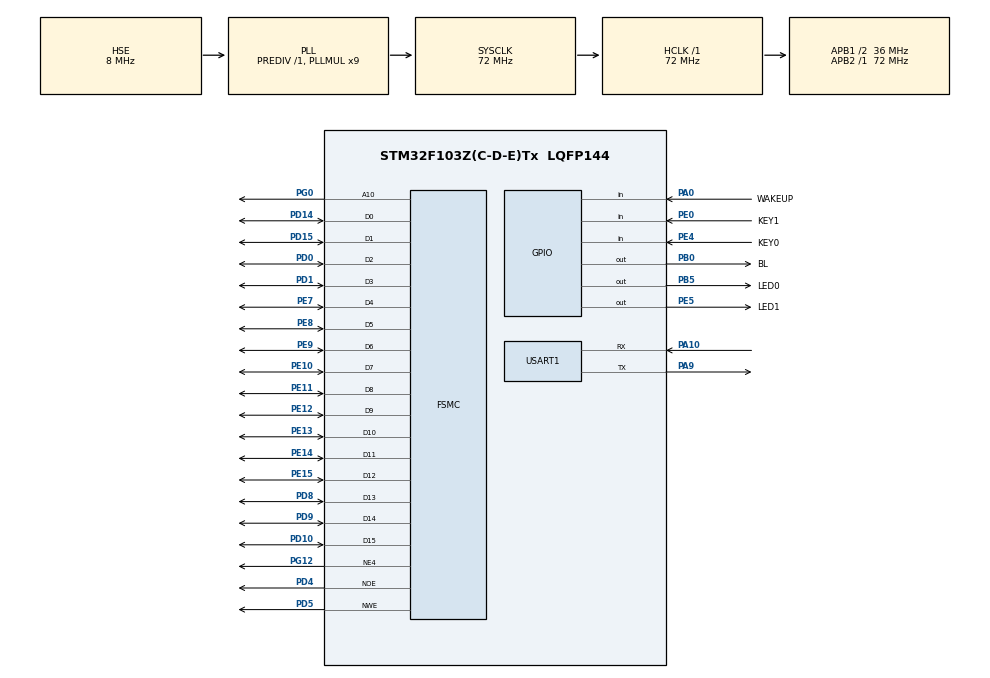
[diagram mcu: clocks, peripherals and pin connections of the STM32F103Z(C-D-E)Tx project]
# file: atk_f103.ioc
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FSMC.AddressSetupTime1=0
FSMC.DataSetupTime1=15
FSMC.ExtendedAddressSetupTime1=0
FSMC.ExtendedDataSetupTime1=1
FSMC.ExtendedMode1=FSMC_EXTENDED_MODE_ENABLE
Mcu.Family=STM32F1
Mcu.Name=STM32F103Z(C-D-E)Tx
Mcu.Package=LQFP144
NVIC.PriorityGroup=NVIC_PRIORITYGROUP_2
OSC_IN.Mode=HSE-External-Oscillator
OSC_IN.Signal=RCC_OSC_IN
OSC_OUT.Mode=HSE-External-Oscillator
OSC_OUT.Signal=RCC_OSC_OUT
PA0-WKUP.GPIO_Label=WAKEUP
PA0-WKUP.GPIO_PuPd=GPIO_PULLDOWN
PA0-WKUP.Signal=GPIO_Input
PA10.Mode=Asynchronous
PA10.Signal=USART1_RX
PA13.Mode=Serial_Wire
PA13.Signal=SYS_JTMS-SWDIO
PA14.Mode=Serial_Wire
PA14.Signal=SYS_JTCK-SWCLK
PA9.Mode=Asynchronous
PA9.Signal=USART1_TX
PB0.GPIO_Label=BL
PB0.GPIO_PuPd=GPIO_PULLUP
PB0.GPIO_Speed=GPIO_SPEED_FREQ_HIGH
PB0.PinState=GPIO_PIN_SET
PB0.Signal=GPIO_Output
PB5.GPIO_Label=LED0
PB5.PinState=GPIO_PIN_SET
PB5.Signal=GPIO_Output
PC14-OSC32_IN.Mode=LSE-External-Oscillator
PC14-OSC32_IN.Signal=RCC_OSC32_IN
PC15-OSC32_OUT.Mode=LSE-External-Oscillator
PC15-OSC32_OUT.Signal=RCC_OSC32_OUT
PD0.Signal=FSMC_D2_DA2
PD1.Signal=FSMC_D3_DA3
PD10.Signal=FSMC_D15_DA15
PD14.Signal=FSMC_D0_DA0
PD15.Signal=FSMC_D1_DA1
PD4.Signal=FSMC_NOE
PD5.Signal=FSMC_NWE
PD8.Signal=FSMC_D13_DA13
PD9.Signal=FSMC_D14_DA14
PE0.GPIO_Label=KEY1
PE0.GPIO_PuPd=GPIO_PULLUP
PE0.Signal=GPIO_Input
PE10.Signal=FSMC_D7_DA7
PE11.Signal=FSMC_D8_DA8
PE12.Signal=FSMC_D9_DA9
PE13.Signal=FSMC_D10_DA10
PE14.Signal=FSMC_D11_DA11
PE15.Signal=FSMC_D12_DA12
PE4.GPIO_Label=KEY0
PE4.GPIO_PuPd=GPIO_PULLUP
PE4.Signal=GPIO_Input
PE5.GPIO_Label=LED1
PE5.PinState=GPIO_PIN_SET
PE5.Signal=GPIO_Output
PE7.Signal=FSMC_D4_DA4
PE8.Signal=FSMC_D5_DA5
PE9.Signal=FSMC_D6_DA6
PG0.Signal=FSMC_A10
PG12.Mode=NorPsramChipSelect4_1
PG12.Signal=FSMC_NE4
ProjectManager.HeapSize=0x200
ProjectManager.StackSize=0x400
ProjectManager.TargetToolchain=MDK-ARM V5.32
RCC.AHBFreq_Value=72000000
RCC.APB1CLKDivider=RCC_HCLK_DIV2
RCC.APB1Freq_Value=36000000
RCC.APB1TimFreq_Value=72000000
RCC.APB2Freq_Value=72000000
RCC.APB2TimFreq_Value=72000000
RCC.HCLKFreq_Value=72000000
RCC.PLLMUL=RCC_PLL_MUL9
RCC.PLLSourceVirtual=RCC_PLLSOURCE_HSE
RCC.SYSCLKFreq_VALUE=72000000
RCC.SYSCLKSource=RCC_SYSCLKSOURCE_PLLCLK
RCC.USBFreq_Value=72000000
SH.FSMC_A10.0=FSMC_A10,A10_1
SH.FSMC_D0_DA0.0=FSMC_D0,16b-d1
SH.FSMC_D10_DA10.0=FSMC_D10,16b-d1
SH.FSMC_D11_DA11.0=FSMC_D11,16b-d1
SH.FSMC_D12_DA12.0=FSMC_D12,16b-d1
SH.FSMC_D13_DA13.0=FSMC_D13,16b-d1
SH.FSMC_D14_DA14.0=FSMC_D14,16b-d1
SH.FSMC_D15_DA15.0=FSMC_D15,16b-d1
SH.FSMC_D1_DA1.0=FSMC_D1,16b-d1
SH.FSMC_D2_DA2.0=FSMC_D2,16b-d1
SH.FSMC_D3_DA3.0=FSMC_D3,16b-d1
SH.FSMC_D4_DA4.0=FSMC_D4,16b-d1
SH.FSMC_D5_DA5.0=FSMC_D5,16b-d1
SH.FSMC_D6_DA6.0=FSMC_D6,16b-d1
SH.FSMC_D7_DA7.0=FSMC_D7,16b-d1
SH.FSMC_D8_DA8.0=FSMC_D8,16b-d1
SH.FSMC_D9_DA9.0=FSMC_D9,16b-d1
SH.FSMC_NOE.0=FSMC_NOE,Lcd1
SH.FSMC_NWE.0=FSMC_NWE,Lcd1
USART1.VirtualMode=VM_ASYNC
board=custom

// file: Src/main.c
/* USER CODE BEGIN Header */
/**
  ******************************************************************************
  * @file           : main.c
  * @brief          : Main program body
  ******************************************************************************
  * @attention
  *
  * <h2><center>&copy; Copyright (c) 2023 STMicroelectronics.
  * All rights reserved.</center></h2>
  *
  * This software component is licensed by ST under BSD 3-Clause license,
  * the "License"; You may not use this file except in compliance with the
  * License. You may obtain a copy of the License at:
  *                        opensource.org/licenses/BSD-3-Clause
  *
  ******************************************************************************
  */
/* USER CODE END Header */
#include "main.h"
#include "usart.h"
#include "gpio.h"
#include "fsmc.h"

/* USER CODE BEGIN Includes */
#include "./SYSTEM/delay/delay.h"
#include "./BSP/lcd.h"
#include "./BSP/touch.h"
#include "./BSP/iic.h"
/* USER CODE END Includes */

void SystemClock_Config(void);

int main(void)
{

  /* MCU Configuration--------------------------------------------------------*/

  /* Reset of all peripherals, Initializes the Flash interface and the Systick. */
  HAL_Init();

  /* Configure the system clock */
  SystemClock_Config();

  /* Initialize all configured peripherals */
  MX_GPIO_Init();
  MX_FSMC_Init();
  MX_USART1_UART_Init();
  /* USER CODE BEGIN 2 */
    delay_init(72);

    lcd_init();
    gt9xxx_init();
    g_point_color = RED;
    HAL_GPIO_WritePin(LED1_GPIO_Port, LED1_Pin, GPIO_PIN_RESET);/*LED1 PE5��0*/
    lcd_clear(BLACK);
  /* USER CODE END 2 */

  /* Infinite loop */
  while (1)
  {

    /* USER CODE BEGIN 3 */

      //lcd_show_string(50, 50, 500, 600, 24, "hello world!", WHITE);
      //lcd_show_xnum(50, 100, 123456789, 10, 24, 0x81, WHITE);
      //lcd_draw_line(50, 50, 55, 57, WHITE);
      //lcd_clear(BLACK);
      //lcd_fill_circle(200, 200, 100, BLACK);
      lcd_fill_circle(200, 200, 100, WHITE);
      gt9xxx_scan();
      //lcd_fill_circle1(200, 400, 100, BLACK);
      //lcd_fill_circle1(200, 400, 100, WHITE);
      HAL_GPIO_TogglePin(LED0_GPIO_Port, LED0_Pin);/*LED0 PB5��1*/
      HAL_GPIO_TogglePin(LED1_GPIO_Port, LED1_Pin);  /*LED1 PE5��0*/
      HAL_Delay(500);

  }
  /* USER CODE END 3 */
}

void SystemClock_Config(void)
{
  RCC_OscInitTypeDef RCC_OscInitStruct = {0};
  RCC_ClkInitTypeDef RCC_ClkInitStruct = {0};

  /** Initializes the RCC Oscillators according to the specified parameters
  * in the RCC_OscInitTypeDef structure.
  */
  RCC_OscInitStruct.OscillatorType = RCC_OSCILLATORTYPE_HSE;
  RCC_OscInitStruct.HSEState = RCC_HSE_ON;
  RCC_OscInitStruct.HSEPredivValue = RCC_HSE_PREDIV_DIV1;
  RCC_OscInitStruct.HSIState = RCC_HSI_ON;
  RCC_OscInitStruct.PLL.PLLState = RCC_PLL_ON;
  RCC_OscInitStruct.PLL.PLLSource = RCC_PLLSOURCE_HSE;
  RCC_OscInitStruct.PLL.PLLMUL = RCC_PLL_MUL9;
  if (HAL_RCC_OscConfig(&RCC_OscInitStruct) != HAL_OK)
  {
    Error_Handler();
  }
  /** Initializes the CPU, AHB and APB buses clocks
  */
  RCC_ClkInitStruct.ClockType = RCC_CLOCKTYPE_HCLK|RCC_CLOCKTYPE_SYSCLK
                              |RCC_CLOCKTYPE_PCLK1|RCC_CLOCKTYPE_PCLK2;
  RCC_ClkInitStruct.SYSCLKSource = RCC_SYSCLKSOURCE_PLLCLK;
  RCC_ClkInitStruct.AHBCLKDivider = RCC_SYSCLK_DIV1;
  RCC_ClkInitStruct.APB1CLKDivider = RCC_HCLK_DIV2;
  RCC_ClkInitStruct.APB2CLKDivider = RCC_HCLK_DIV1;

  if (HAL_RCC_ClockConfig(&RCC_ClkInitStruct, FLASH_LATENCY_2) != HAL_OK)
  {
    Error_Handler();
  }
}

void Error_Handler(void)
{
  __disable_irq();
  while (1)
  {
  }
}

/************************ (C) COPYRIGHT STMicroelectronics *****END OF FILE****/
